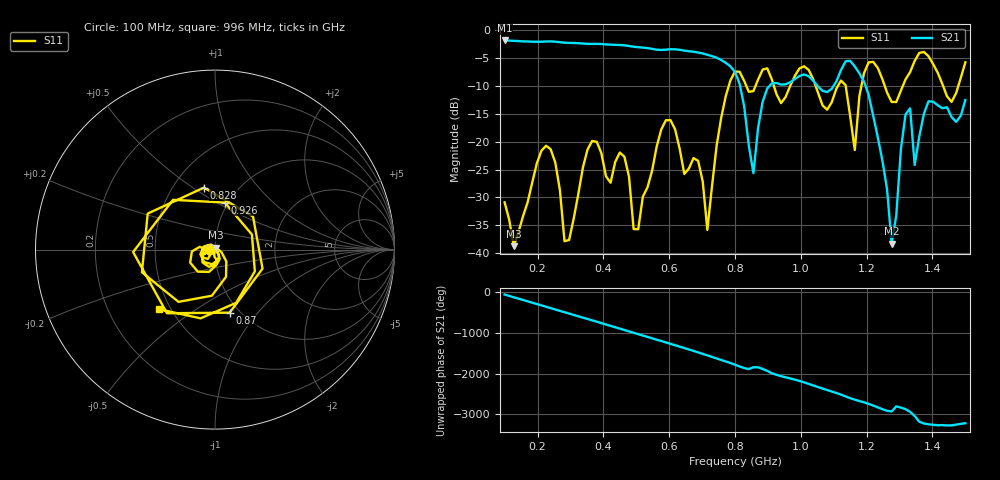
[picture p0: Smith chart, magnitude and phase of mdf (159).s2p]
! NanoVNA-App
! Date: 2025-09-25 15:39:40
! Start: 100MHz Stop: 1,5GHz Points: 101
! S-Parameter data: F S11 S21 S12 S22
# Hz S RI R 50
!  Frequency  S11_Real  S11_Imag  S21_Real  S21_Imag  S12_Real  S12_Imag  S22_Real  S22_Imag
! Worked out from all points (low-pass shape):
!   101 points, 100 MHz to 1.5 GHz, reference 50 ohm
!   highest |S21| = -1.81 dB at 100 MHz (marker M1); lowest = -38.4 dB at 1.276 GHz (marker M2)
!   |S21| within 3 dB of the highest: start of sweep to 739.2 MHz
!   lowest |S11| = -38.8 dB at 128 MHz (marker M3), VSWR 1.02, Z = 50.4 + j1.09 ohm
!   |S11| at or under -10 dB: start of sweep to 781 MHz; 1.045 GHz to 1.113 GHz (67.45 MHz wide, 6.25 % of centre); 1.255 GHz to 1.31 GHz (54.67 MHz wide, 4.26 % of centre) (the widest 3 of 7)
!   S12 and S22 are empty: the file has one direction only
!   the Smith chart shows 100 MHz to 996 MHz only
!   S11 on the Smith chart (normalised r, x): 100 MHz: 0.95, -0.01; 828 MHz: 0.70, +0.55; 870 MHz: 0.90, -0.73; 926 MHz: 0.97, +0.54; 996 MHz: 0.43, -0.36
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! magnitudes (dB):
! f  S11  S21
! 100 MHz  -30.9  -1.8
! 128 MHz  -38.8  -1.9
! 212 MHz  -21.6  -2.0
! 282 MHz  -37.9  -2.2
! 338 MHz  -24.6  -2.4
! 464 MHz  -22.7  -2.7
! 506 MHz  -35.7  -3.0
! 576 MHz  -17.8  -3.5
! 716 MHz  -35.9  -4.4
! 800 MHz  -7.4  -7.5
! 828 MHz  -9.1  -13.7
! 856 MHz  -10.9  -25.7
! 870 MHz  -8.9  -17.6
! 926 MHz  -11.4  -9.5
! 996 MHz  -6.8  -8.2
! 1.038 GHz  -8.8  -9.1
! 1.164 GHz  -21.5  -6.5
! 1.192 GHz  -7.7  -9.2
! 1.276 GHz  -12.9  -38.4
! 1.318 GHz  -8.8  -15.1
! 1.346 GHz  -5.5  -24.2
! 1.5 GHz  -5.7  -12.5
